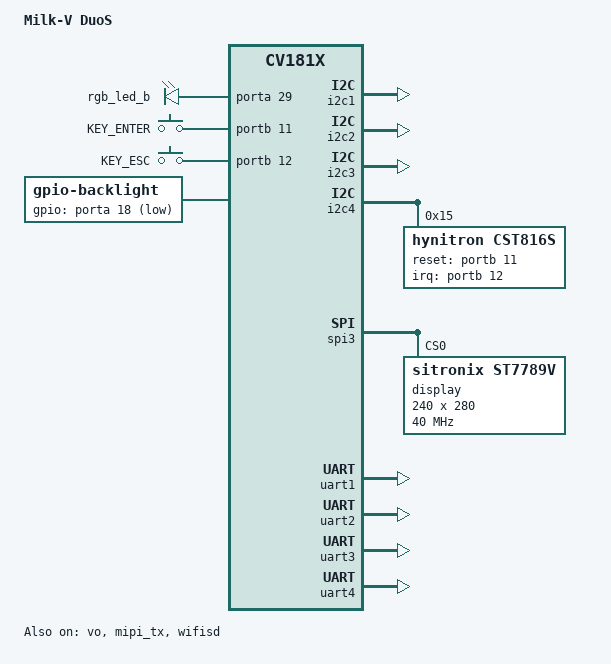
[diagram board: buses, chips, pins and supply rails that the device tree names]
/dts-v1/;
#include "cv181x_base_arm.dtsi"
#include "cv181x_asic_bga.dtsi"
#include "cv181x_asic_emmc.dtsi"
#include "cv181x_default_memmap.dtsi"

/ {
	model = "Milk-V DuoS";

	leds: leds {
		compatible = "gpio-leds";
		rgb_led_b: rgb-led-b {
			gpios = <&porta 29 GPIO_ACTIVE_HIGH>;
			linux,default-trigger = "timer";
			linux,delay-reg = <0>;   		// 延时注册
			linux,blink-delay-on = <5000>; 	// 打开时间
			linux,blink-delay-off = <5000>;	// 关闭时间
		};
	};

	keys: keys {
		// compatible = "gpio-keys";

		button0 {
			label = "KEY_ENTER";
			gpios = <&portb 11 GPIO_ACTIVE_HIGH>;
			linux,code = <28>;
			debounce-interval = <10>;
		};

		button1 {
			label = "KEY_ESC";
			gpios = <&portb 12 GPIO_ACTIVE_HIGH>;
			linux,code = <1>;
			debounce-interval = <10>;
		};
	};

	backlight: backlight {
		compatible = "gpio-backlight";
		gpios = <&porta 18 GPIO_ACTIVE_LOW>;
	};
};

&mipi_rx {
	snsr-reset = <&porta 2 GPIO_ACTIVE_LOW>, <&porta 2 GPIO_ACTIVE_LOW>, <&porta 2 GPIO_ACTIVE_LOW>;
};

&i2c0 {
	status = "disabled";
};

&i2c1 {
	status = "okay";
};

&i2c2 {
	status = "okay";
};

&i2c3 {
	status = "okay";
};

&i2c4 {
	status = "okay";
	
	CST816S: CST816S@15 {
		compatible = "hynitron,cst816s";
		reg = <0x15>;
		reset-gpios = <&portb 11 GPIO_ACTIVE_HIGH>;
		interrupt-parent = <&portb>;
		interrupts = <12 IRQ_TYPE_EDGE_RISING>;
		linux,keycodes = < 0 >,           		/* ID 0: 无手势（通常忽略） */
						<103>,       		/* ID 1: 上滑 */
						<104>,     		/* ID 2: 下滑 */
						<105>,     		/* ID 3: 左滑 */
						<106>,    		/* ID 4: 右滑 */
						<330>,    		/* ID 5: 单击 */
						<0>, <0>, <0>, <0>, <0>,  /* ID 6~10: 保留/未使用 */
						<352>,       		/* ID 11: 双击 */
						<139>;     		/* ID 12: 长按 */
	};
};

&spi3 {
	status = "okay";
	/delete-node/ spidev@0;

	display@0{
		compatible = "sitronix,st7789v";
		reg = <0>;
		status = "okay";
        spi-max-frequency = <40000000>;
		dc = <&porta 20 GPIO_ACTIVE_LOW>;
        reset = <&porta 19 GPIO_ACTIVE_HIGH>;
		width = <240>;
        height = <280>;
        bus-width = <8>;
		spi-cpol;
        spi-cpha;
		debug = <0x0>;
		y-offset = <20>;   // 这里定义
    };
};

&dac {
	/delete-property/ mute-gpio-l;
	/delete-property/ mute-gpio-r;
};

/* mipi dsi for u-boot */
&vo {
	compatible = "cvitek,vo";
	reset-gpio = <&porte 2 GPIO_ACTIVE_LOW>;
	pwm-gpio = <&porte 0 GPIO_ACTIVE_HIGH>;
	power-ct-gpio = <&porte 1 GPIO_ACTIVE_HIGH>;
	status = "okay";
};

/* mipi dsi for kernel */
&mipi_tx {
	compatible = "cvitek,mipi_tx";
	reset-gpio = <&porte 2 GPIO_ACTIVE_LOW>;
	pwm-gpio = <&porte 0 GPIO_ACTIVE_HIGH>;
	power-ct-gpio = <&porte 1 GPIO_ACTIVE_HIGH>;
	status = "okay";
};

&wifisd {
	status = "okay";
	cap-sd-highspeed;
	sd-uhs-sdr25;
	sd-uhs-ddr50;
	sd-uhs-sdr104;
	min-frequency = <400000>;
	max-frequency = <187500000>;
};

&wifi_pin {
	status = "okay";
	compatible = "cvitek,wifi-pin";
	poweron-gpio = <&porta 15 GPIO_ACTIVE_HIGH>;
	wakeup-gpio = <&porte 7 GPIO_ACTIVE_HIGH>;
};

&usb {
	vbus-gpio = <&portb 6 0>;
};

&uart1 {
	status = "okay";
};

&uart2 {
	status = "okay";
};

&uart3 {
	status = "okay";
};

&uart4 {
	status = "okay";
};
